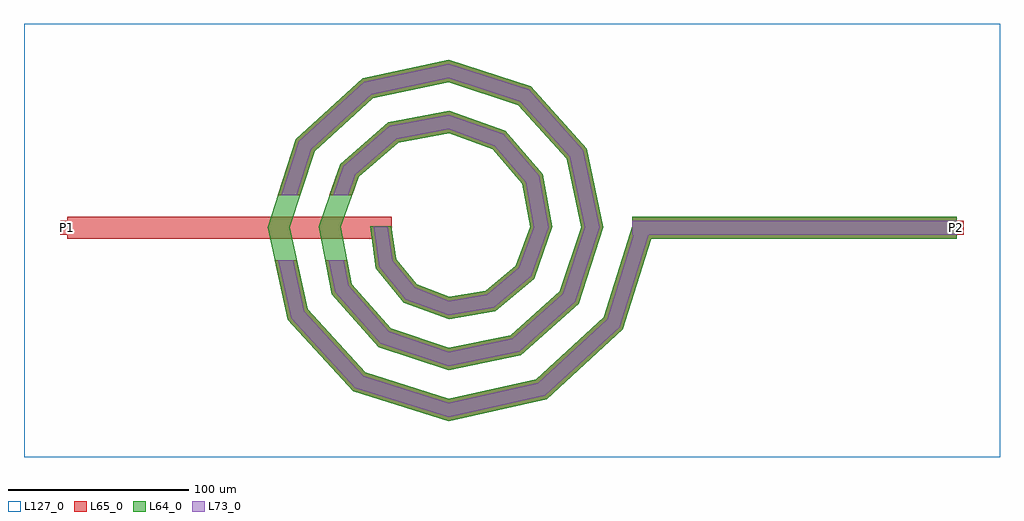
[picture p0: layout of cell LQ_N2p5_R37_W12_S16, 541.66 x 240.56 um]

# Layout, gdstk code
import gdstk
lib = gdstk.Library(unit=1e-6, precision=1e-09)
def R(c, l, rs):  # rectangles x0, y0, x1, y1
    for r in rs: c.add(gdstk.rectangle(r[:2], r[2:], *l))
def P(c, l, *ps):  # polygons
    for p in ps: c.add(gdstk.Polygon(p, *l))
L64_0 = (64, 0)
L65_0 = (65, 0)
L73_0 = (73, 0)
L127_0 = (127, 0)

lq_n2p5_r37_w12_s16 = lib.new_cell('LQ_N2p5_R37_W12_S16')
R(lq_n2p5_r37_w12_s16, L64_0, [(102.235,-6,282.235,6)])
P(lq_n2p5_r37_w12_s16, L64_0, [(-28.763,-17.397),(-17.423,-31.47),(0.613,-38.322),(20.844,-34.939),(37.549,-21.039),(45.396,0.529),(41.104,24.316),(24.637,43.642),(0.465,52.473),(-27.803,47.262),(-49.745,28.223),(-59.551,0.415),(-53.415,-31.302),(-31.799,-55.853),(0.375,-66.629),(34.809,-59.565),(61.966,-35.369),(73.709,0.342),(65.711,38.322),(38.934,68.082),(0.314,80.788),(-41.839,71.855),(-74.201,42.496),(-87.868,0.291),(-77.998,-45.359),(-46.054,-80.322),(0.27,-94.948),(48.883,-84.139),(86.444,-49.61),(102.508,1.79),(113.962,-1.79),(96.937,-56.265),(54.632,-95.154),(0.27,-107.361),(-52.74,-90.795),(-89.031,-51.075),(-100.28,0.291),(-84.651,49.218),(-47.514,82.909),(0.314,93.198),(45.698,78.506),(76.789,43.951),(86.116,0.342),(72.358,-42.183),(40.382,-70.671),(0.375,-79.033),(-38.672,-66.206),(-64.556,-36.808),(-71.95,0.415),(-60.05,35.168),(-33.226,58.445),(0.465,64.866),(31.672,53.888),(52.338,29.633),(57.781,0.529),(47.717,-28.189),(26.024,-46.239),(0.613,-50.694),(-24.725,-41.532),(-40.151,-22.39),(-43.361,0.886),(-31.493,0.886)])
R(lq_n2p5_r37_w12_s16, L65_0, [(-211.427,-6,-31.427,6), (102.235,-6,282.235,6), (-215.427,-4,-207.427,4), (278.235,-4,286.235,4)])
P(lq_n2p5_r37_w12_s16, L65_0, [(-77.998,-45.359),(-46.054,-80.322),(0.27,-94.948),(48.883,-84.139),(86.444,-49.61),(102.509,1.79),(113.962,-1.79),(96.937,-56.265),(54.632,-95.154),(0.27,-107.361),(-52.74,-90.795),(-89.031,-51.075),(-96.274,-18),(-83.99,-18)],
  [(-53.415,-31.302),(-31.799,-55.853),(0.375,-66.629),(34.809,-59.565),(61.966,-35.369),(73.709,0.342),(65.711,38.322),(38.934,68.082),(0.314,80.788),(-41.839,71.855),(-74.201,42.496),(-82.026,18),(-94.623,18),(-84.651,49.218),(-47.514,82.909),(0.314,93.198),(45.698,78.506),(76.789,43.951),(86.116,0.342),(72.358,-42.183),(40.382,-70.671),(0.375,-79.033),(-38.672,-66.206),(-64.556,-36.808),(-68.292,-18),(-56.058,-18)],
  [(-17.423,-31.47),(0.613,-38.322),(20.844,-34.939),(37.549,-21.039),(45.397,0.529),(41.104,24.316),(24.637,43.642),(0.465,52.473),(-27.804,47.262),(-49.745,28.223),(-53.245,18),(-65.929,18),(-60.05,35.168),(-33.226,58.445),(0.465,64.866),(31.672,53.888),(52.338,29.633),(57.781,0.529),(47.717,-28.189),(26.024,-46.239),(0.613,-50.694),(-24.725,-41.532),(-40.151,-22.391),(-43.361,0.886),(-31.493,0.886),(-28.763,-17.397)])
R(lq_n2p5_r37_w12_s16, L73_0, [(102.235,-4,282.235,4)])
P(lq_n2p5_r37_w12_s16, L73_0, [(-79.837,-46.312),(-47.169,-82.067),(0.18,-97.017),(49.841,-85.975),(88.193,-50.719),(104.417,1.193),(112.053,-1.193),(95.188,-55.156),(53.674,-93.318),(0.18,-105.292),(-51.626,-89.049),(-87.192,-50.122),(-94.227,-18),(-86.037,-18)],
  [(-55.272,-32.22),(-32.945,-57.579),(0.25,-68.697),(35.738,-61.416),(63.698,-36.505),(75.776,0.228),(67.557,39.26),(40.062,69.82),(0.21,82.856),(-42.785,73.698),(-75.943,43.616),(-84.125,18),(-92.523,18),(-82.91,48.097),(-46.568,81.067),(0.21,91.129),(44.571,76.769),(74.943,43.012),(84.048,0.228),(70.626,-41.047),(39.454,-68.82),(0.25,-76.966),(-37.526,-64.481),(-62.699,-35.891),(-66.253,-18),(-58.097,-18)],
  [(-18.64,-33.147),(0.408,-40.384),(21.707,-36.822),(39.244,-22.231),(47.461,0.353),(42.977,25.202),(25.81,45.35),(0.31,54.539),(-28.707,49.126),(-51.462,29.38),(-55.359,18),(-63.815,18),(-58.333,34.01),(-32.323,56.581),(0.31,62.801),(30.5,52.181),(50.466,28.747),(55.717,0.353),(46.023,-26.998),(25.161,-44.356),(0.408,-48.632),(-23.508,-39.855),(-38.253,-21.558),(-41.383,0.591),(-33.471,0.591),(-30.661,-18.229)])
R(lq_n2p5_r37_w12_s16, L127_0, [(-235.427,-127.361,306.235,113.198)])
lq_n2p5_r37_w12_s16.add(gdstk.Label('P2', (282.235,0), layer=65, texttype=0))
lq_n2p5_r37_w12_s16.add(gdstk.Label('P1', (-211.427,0), layer=65, texttype=0))
lq_n2p5_r37_w12_s16.add(gdstk.Label('P2', (286.235,0), layer=145, texttype=0))
lq_n2p5_r37_w12_s16.add(gdstk.Label('P1', (-215.427,0), layer=145, texttype=0))

lib.write_gds('LQ_N2p5_R37_W12_S16.gds')
